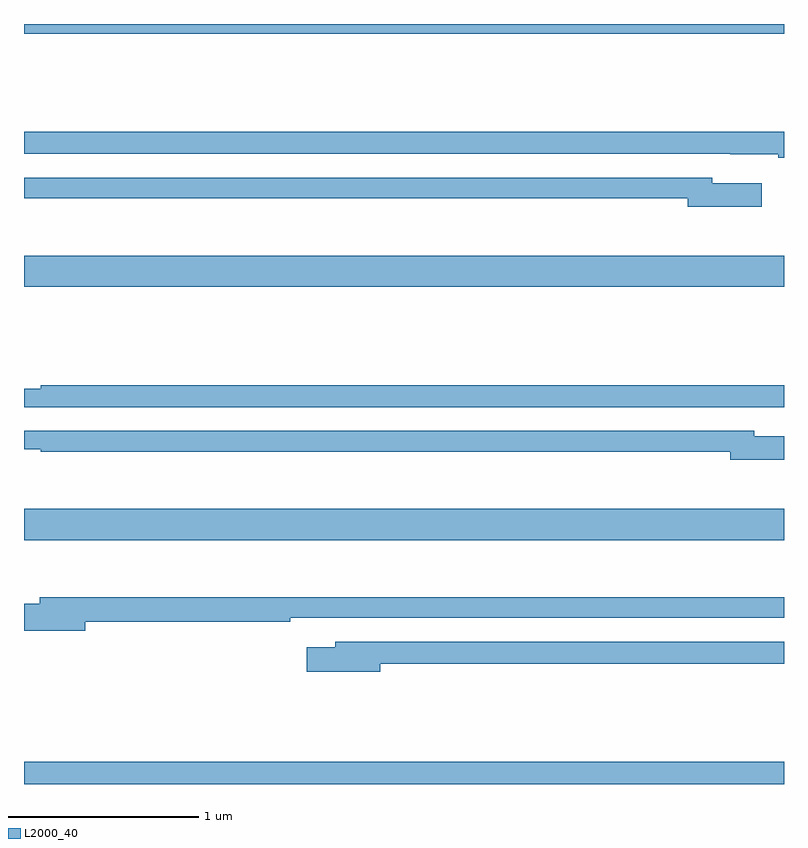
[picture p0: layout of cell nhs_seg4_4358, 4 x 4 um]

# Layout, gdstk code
import gdstk
lib = gdstk.Library(unit=1e-6, precision=1e-09)
def R(c, l, rs):  # rectangles x0, y0, x1, y1
    for r in rs: c.add(gdstk.rectangle(r[:2], r[2:], *l))
def P(c, l, *ps):  # polygons
    for p in ps: c.add(gdstk.Polygon(p, *l))
L2000_40 = (2000, 40)

nhs_seg4_4358 = lib.new_cell('nhs_seg4_4358')
R(nhs_seg4_4358, L2000_40, [(345,764.9,349,765.016), (345,766.184,349,766.348), (345,767.516,349,767.68), (345,768.848,349,768.9)])
P(nhs_seg4_4358, L2000_40, [(349,768.332),(345,768.332),(345,768.216),(348.718,768.216),(348.718,768.215),(348.97,768.215),(348.97,768.196),(349,768.196)],
  [(348.883,768.061),(348.622,768.061),(348.622,768.09),(345,768.09),(345,767.982),(348.494,767.982),(348.494,767.939),(348.883,767.939)],
  [(349,767),(345.088,767),(345.088,766.981),(345,766.981),(345,766.884),(348.94,766.884),(348.94,766.883),(349,766.883)],
  [(349,766.729),(348.844,766.729),(348.844,766.758),(345,766.758),(345,766.662),(345.088,766.662),(345.088,766.65),(348.716,766.65),(348.716,766.607),(349,766.607)],
  [(345.322,765.754),(346.4,765.754),(346.4,765.774),(349,765.774),(349,765.883),(345.083,765.883),(345.083,765.849),(345,765.849),(345,765.707),(345.322,765.707)],
  [(346.876,765.532),(349,765.532),(349,765.648),(346.637,765.648),(346.637,765.619),(346.488,765.619),(346.488,765.49),(346.876,765.49)])

lib.write_gds('nhs_seg4_4358.gds')
